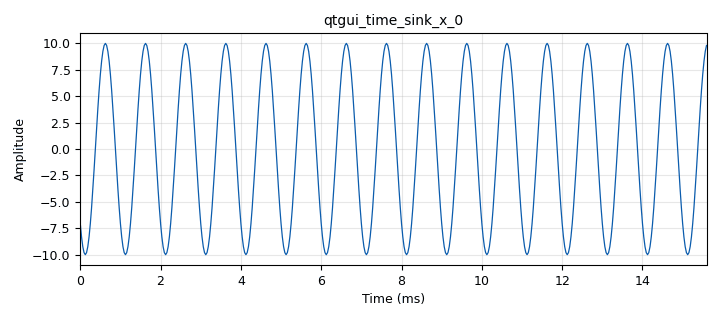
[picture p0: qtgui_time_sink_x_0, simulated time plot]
options:
  parameters:
    author: funki
    generate_options: qt_gui
    id: e_py_demo
    output_language: python
    title: This represents our first ePy-demo
  states: {}

blocks:
- name: samp_rate
  id: variable
  parameters:
    value: '32000'
  states: {}
- name: analog_sig_source_x_0
  id: analog_sig_source_x
  parameters:
    amp: '1'
    freq: '1000'
    offset: '0'
    phase: '0'
    samp_rate: samp_rate
    type: float
    waveform: analog.GR_COS_WAVE
  states: {}
- name: epy_block_0
  id: epy_block
  parameters:
    _source_code: |
      """
      Embedded Python Blocks:

      Each time this file is saved, GRC will instantiate the first class it finds
      to get ports and parameters of your block. The arguments to __init__  will
      be the parameters. All of them are required to have default values!
      """

      import numpy as np
      from gnuradio import gr


      class blk(gr.sync_block):  # other base classes are basic_block, decim_block, interp_block
          """Embedded Python Block example - a simple multiply const"""

          def __init__(self, example_param=1.0):  # only default arguments here
              """arguments to this function show up as parameters in GRC"""
              gr.sync_block.__init__(
                  self,
                  name='Embedded Python Block',   # will show up in GRC
                  in_sig=[np.float32],
                  out_sig=[np.float32]
              )
              # if an attribute with the same name as a parameter is found,
              # a callback is registered (properties work, too).
              self.example_param = example_param

          def work(self, input_items, output_items):
              """example: multiply with constant"""
              output_items[0][:] = input_items[0] * self.example_param
              return len(output_items[0])
    example_param: '10'
  states: {}
- name: qtgui_time_sink_x_0
  id: qtgui_time_sink_x
  parameters:
    autoscale: 'True'
    size: '500'
    srate: samp_rate
    type: float
    ymax: '5'
    ymin: '-5'
  states: {}

connections:
- [analog_sig_source_x_0, '0', epy_block_0, '0']
- [epy_block_0, '0', qtgui_time_sink_x_0, '0']

metadata:
  file_format: 1
